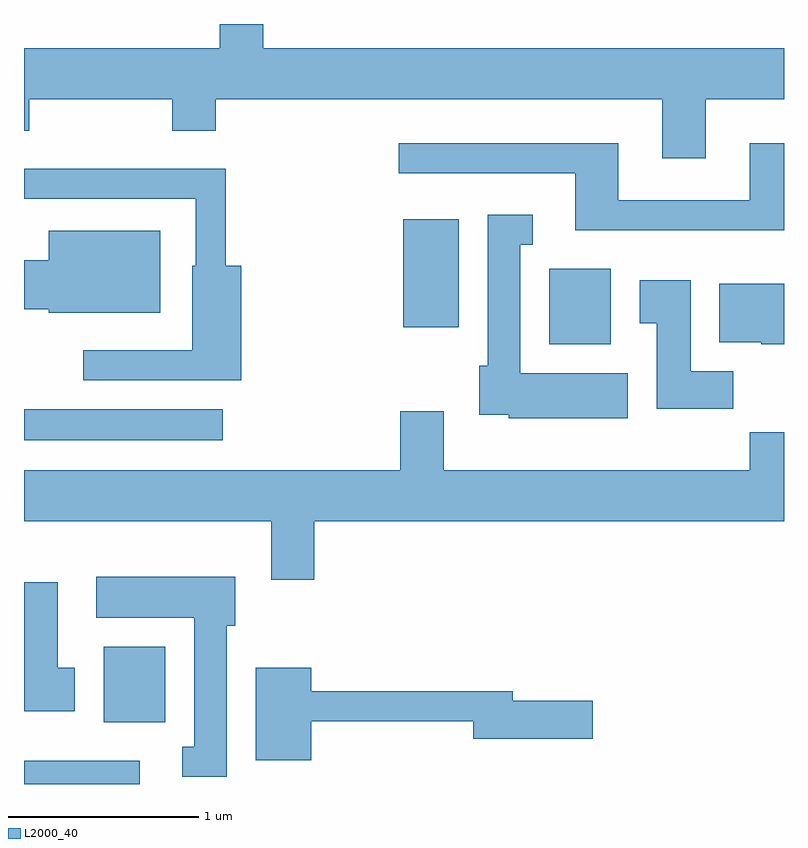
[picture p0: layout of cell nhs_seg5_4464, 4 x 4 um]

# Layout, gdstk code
import gdstk
lib = gdstk.Library(unit=1e-6, precision=1e-09)
def R(c, l, rs):  # rectangles x0, y0, x1, y1
    for r in rs: c.add(gdstk.rectangle(r[:2], r[2:], *l))
def P(c, l, *ps):  # polygons
    for p in ps: c.add(gdstk.Polygon(p, *l))
L2000_40 = (2000, 40)

nhs_seg5_4464 = lib.new_cell('nhs_seg5_4464')
R(nhs_seg5_4464, L2000_40, [(317.611,1462.072,318.219,1462.194), (318.031,1462.396,318.354,1462.794), (317.611,1463.881,318.658,1464.044), (320.376,1464.386,320.699,1464.784), (319.606,1464.476,319.899,1465.044)])
P(nhs_seg5_4464, L2000_40, [(321.199,1465.676),(321.611,1465.676),(321.611,1465.944),(318.869,1465.944),(318.869,1466.072),(318.641,1466.072),(318.641,1465.944),(317.611,1465.944),(317.611,1465.511),(317.639,1465.511),(317.639,1465.676),(318.391,1465.676),(318.391,1465.511),(318.619,1465.511),(318.619,1465.676),(320.971,1465.676),(320.971,1465.366),(321.199,1465.366)],
  [(321.611,1465.444),(321.431,1465.444),(321.431,1465.144),(320.739,1465.144),(320.739,1465.444),(319.583,1465.444),(319.583,1465.286),(320.511,1465.286),(320.511,1464.986),(321.611,1464.986)],
  [(318.754,1464.799),(318.674,1464.799),(318.674,1465.309),(317.611,1465.309),(317.611,1465.151),(318.516,1465.151),(318.516,1464.799),(318.496,1464.799),(318.496,1464.354),(317.923,1464.354),(317.923,1464.196),(318.754,1464.196)],
  [(320.789,1464.234),(320.224,1464.234),(320.224,1464.911),(320.288,1464.911),(320.288,1465.069),(320.051,1465.069),(320.051,1464.274),(320.006,1464.274),(320.006,1464.016),(320.161,1464.016),(320.161,1463.996),(320.789,1463.996)],
  [(318.329,1464.984),(317.741,1464.984),(317.741,1464.829),(317.611,1464.829),(317.611,1464.571),(317.741,1464.571),(317.741,1464.551),(318.329,1464.551)],
  [(321.344,1464.244),(321.119,1464.244),(321.119,1464.724),(320.851,1464.724),(320.851,1464.496),(320.941,1464.496),(320.941,1464.046),(321.344,1464.046)],
  [(321.611,1464.704),(321.271,1464.704),(321.271,1464.396),(321.49,1464.396),(321.49,1464.386),(321.611,1464.386)],
  [(319.139,1463.456),(321.611,1463.456),(321.611,1463.924),(321.431,1463.924),(321.431,1463.724),(319.819,1463.724),(319.819,1464.034),(319.591,1464.034),(319.591,1463.724),(317.611,1463.724),(317.611,1463.456),(318.911,1463.456),(318.911,1463.146),(319.139,1463.146)],
  [(318.679,1462.906),(318.724,1462.906),(318.724,1463.164),(317.991,1463.164),(317.991,1462.946),(318.506,1462.946),(318.506,1462.269),(318.443,1462.269),(318.443,1462.111),(318.679,1462.111)],
  [(317.879,1462.684),(317.789,1462.684),(317.789,1463.134),(317.611,1463.134),(317.611,1462.456),(317.879,1462.456)],
  [(319.124,1462.401),(319.976,1462.401),(319.976,1462.311),(320.604,1462.311),(320.604,1462.509),(320.184,1462.509),(320.184,1462.559),(319.124,1462.559),(319.124,1462.684),(318.831,1462.684),(318.831,1462.196),(319.124,1462.196)])

lib.write_gds('nhs_seg5_4464.gds')
